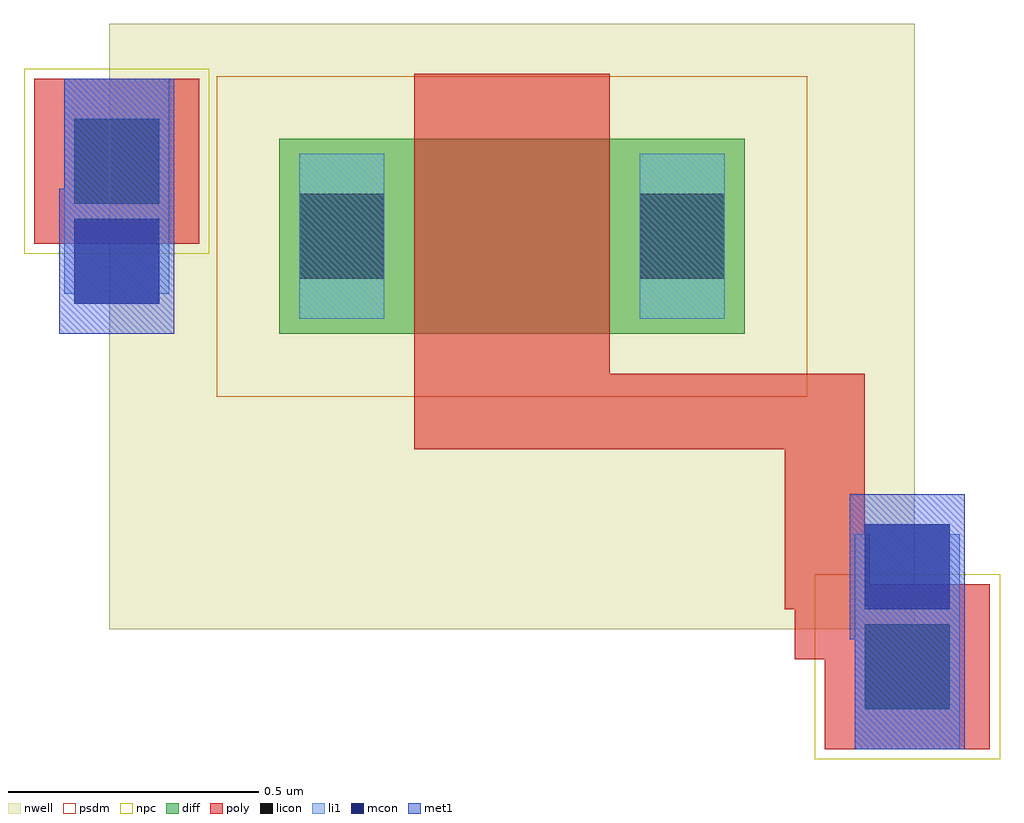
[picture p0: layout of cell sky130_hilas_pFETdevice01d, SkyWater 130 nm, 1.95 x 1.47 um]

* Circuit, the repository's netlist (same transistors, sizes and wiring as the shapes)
* NGSPICE file created from /home/bjmuld/work/hilas/fastlane/PDKs/sky130A_hilas/libs.ref/sky130_hilas_sc/mag/sky130_hilas_pFETdevice01d.ext - technology: sky130A


* Top level circuit /home/bjmuld/work/hilas/fastlane/PDKs/sky130A_hilas/libs.ref/sky130_hilas_sc/mag/sky130_hilas_pFETdevice01d

X0 a_42_n38# a_n36_n84# a_n90_n38# w_n158_n156# sky130_fd_pr__pfet_01v8 w=390000u l=390000u
.end

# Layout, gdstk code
import gdstk
lib = gdstk.Library(unit=1e-6, precision=1e-09)
def R(c, l, rs):  # rectangles x0, y0, x1, y1
    for r in rs: c.add(gdstk.rectangle(r[:2], r[2:], *l))
nwell = (64, 20)
diff = (65, 20)
poly = (66, 20)
licon = (66, 44)
li1 = (67, 20)
mcon = (67, 44)
met1 = (68, 20)
psdm = (94, 20)
npc = (95, 20)

sky130_hilas_poly2m1 = lib.new_cell('sky130_hilas_poly2m1')
R(sky130_hilas_poly2m1, poly, [(-0.09,-0.08,0.24,0.25)])
R(sky130_hilas_poly2m1, licon, [(-0.01,0,0.16,0.17)])
R(sky130_hilas_poly2m1, li1, [(-0.01,-0.2,0.16,-0.18), (-0.03,-0.18,0.18,0.25)])
R(sky130_hilas_poly2m1, mcon, [(-0.01,-0.2,0.16,-0.03)])
R(sky130_hilas_poly2m1, met1, [(-0.04,-0.26,0.19,0.03), (-0.03,0.03,0.19,0.25)])
R(sky130_hilas_poly2m1, npc, [(-0.11,-0.1,0.26,0.27)])

sky130_hilas_pfetdevice0 = lib.new_cell('sky130_hilas_pFETdevice01d')
R(sky130_hilas_pfetdevice0, nwell, [(-0.79,-0.78,0.82,0.43)])
R(sky130_hilas_pfetdevice0, diff, [(-0.45,-0.19,0.48,0.2)])
R(sky130_hilas_pfetdevice0, poly, [(0.58,-0.84,0.64,-0.76), (0.58,-0.76,0.72,-0.74), (0.56,-0.74,0.72,-0.7), (0.56,-0.7,0.73,-0.59), (0.56,-0.59,0.72,-0.42), (-0.18,-0.42,0.72,-0.27), (-0.18,-0.27,0.21,0.33)])
R(sky130_hilas_pfetdevice0, licon, [(-0.41,-0.08,-0.24,0.09), (0.27,-0.08,0.44,0.09)])
R(sky130_hilas_pfetdevice0, li1, [(-0.41,-0.16,-0.24,0.17), (0.27,-0.16,0.44,0.17)])
R(sky130_hilas_pfetdevice0, psdm, [(-0.575,-0.315,0.605,0.325)])
sky130_hilas_pfetdevice0.add(gdstk.Reference(sky130_hilas_poly2m1, (0.73,-0.77), x_reflection=True))
sky130_hilas_pfetdevice0.add(gdstk.Reference(sky130_hilas_poly2m1, (-0.85,0.07)))

lib.write_gds('sky130_hilas_pFETdevice01d.gds')
